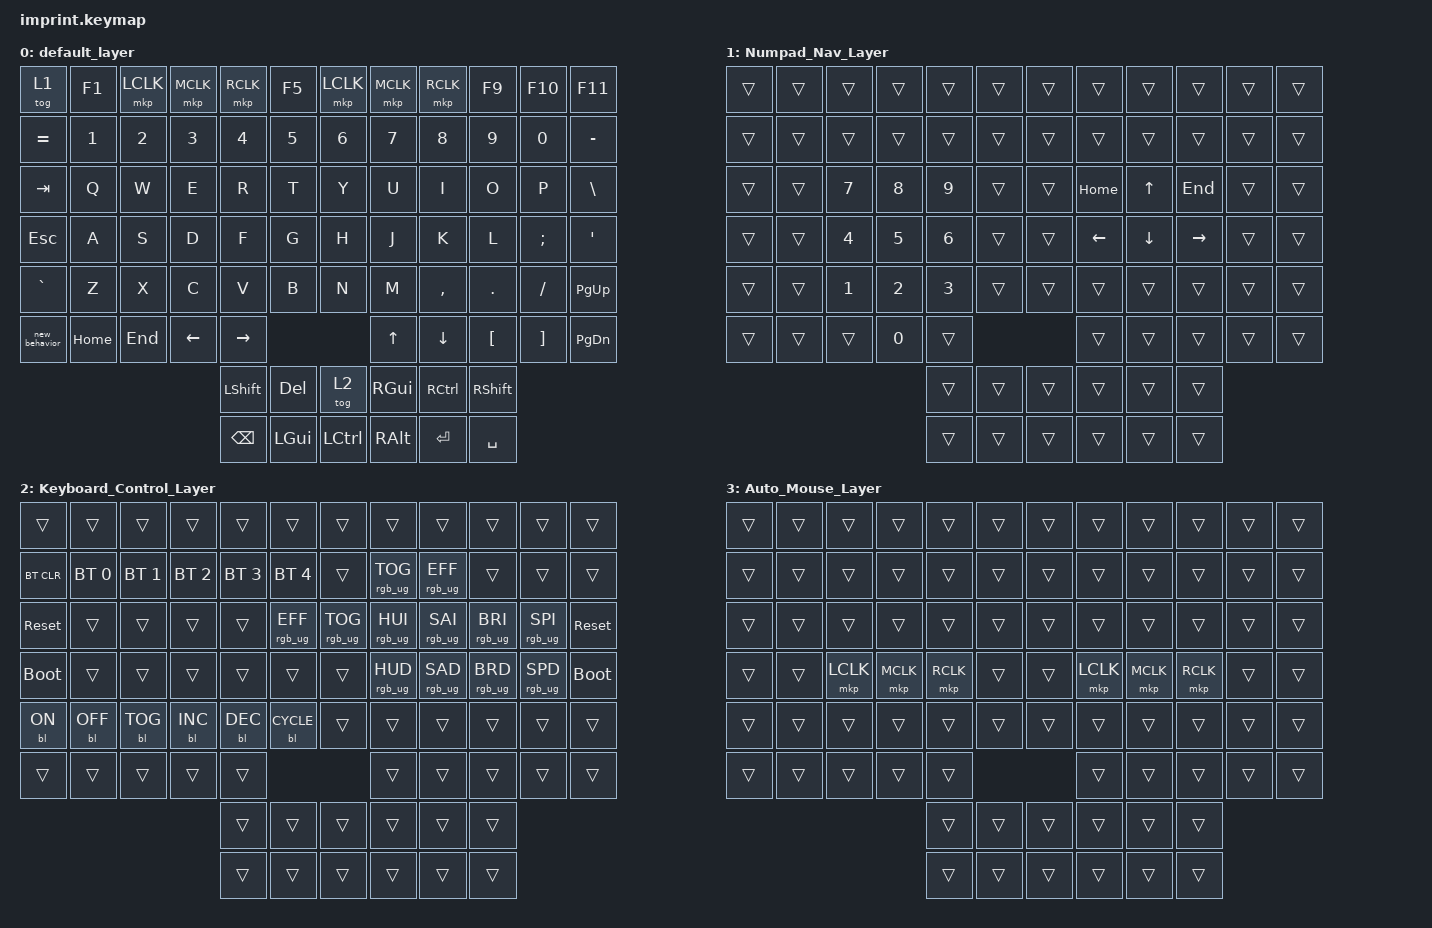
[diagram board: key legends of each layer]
#include <input/processors.dtsi>
#include <dt-bindings/zmk/input_transform.h>
#include <behaviors.dtsi>
#include <dt-bindings/zmk/backlight.h>
#include <dt-bindings/zmk/bt.h>
#include <dt-bindings/zmk/keys.h>
#include <dt-bindings/zmk/pointing.h>
#include <dt-bindings/zmk/rgb.h>

/ {
    chosen { zmk,matrix-transform = &imprint_function_row_full_bottom_row; };

    macros {
        new_macro: new_macro {
            compatible = "zmk,behavior-macro";
            #binding-cells = <0>;
            bindings = <&none>;
            label = "NEW_MACRO";
        };
    };

    behaviors {
        new_behavior: new_behavior {
            compatible = "zmk,behavior-tap-dance";
            label = "NEW_BEHAVIOR";
            #binding-cells = <0>;
            bindings = <&mkp LCLK>;
        };
    };

    keymap {
        compatible = "zmk,keymap";

        default_layer {
            bindings = <
&tog 1         &kp F1    &mkp LCLK  &mkp MCLK  &mkp RCLK       &kp F5                        &mkp LCLK  &mkp MCLK          &mkp RCLK        &kp F9            &kp F10            &kp F11
&kp EQUAL      &kp N1    &kp N2     &kp N3     &kp N4          &kp N5                        &kp N6     &kp N7             &kp N8           &kp N9            &kp N0             &kp MINUS
&kp TAB        &kp Q     &kp W      &kp E      &kp R           &kp T                         &kp Y      &kp U              &kp I            &kp O             &kp P              &kp BSLH
&kp ESC        &kp A     &kp S      &kp D      &kp F           &kp G                         &kp H      &kp J              &kp K            &kp L             &kp SEMI           &kp SQT
&kp GRAVE      &kp Z     &kp X      &kp C      &kp V           &kp B                         &kp N      &kp M              &kp COMMA        &kp DOT           &kp FSLH           &kp PAGE_UP
&new_behavior  &kp HOME  &kp END    &kp LEFT   &kp RIGHT                                                &kp UP_ARROW       &kp DOWN         &kp LEFT_BRACKET  &kp RIGHT_BRACKET  &kp PAGE_DOWN
                                               &kp LEFT_SHIFT  &kp DEL   &tog 2              &kp RGUI   &kp RIGHT_CONTROL  &kp RIGHT_SHIFT
                                               &kp BACKSPACE   &kp LGUI  &kp LEFT_CONTROL    &kp RALT   &kp ENTER          &kp SPACE
            >;
        };

        Numpad_Nav_Layer {
            bindings = <
&trans  &trans  &trans  &trans  &trans  &trans            &trans  &trans    &trans    &trans     &trans  &trans
&trans  &trans  &trans  &trans  &trans  &trans            &trans  &trans    &trans    &trans     &trans  &trans
&trans  &trans  &kp N7  &kp N8  &kp N9  &trans            &trans  &kp HOME  &kp UP    &kp END    &trans  &trans
&trans  &trans  &kp N4  &kp N5  &kp N6  &trans            &trans  &kp LEFT  &kp DOWN  &kp RIGHT  &trans  &trans
&trans  &trans  &kp N1  &kp N2  &kp N3  &trans            &trans  &trans    &trans    &trans     &trans  &trans
&trans  &trans  &trans  &kp N0  &trans                            &trans    &trans    &trans     &trans  &trans
                                &trans  &trans  &trans    &trans  &trans    &trans
                                &trans  &trans  &trans    &trans  &trans    &trans
            >;
        };

        Keyboard_Control_Layer {
            bindings = <
&trans       &trans        &trans        &trans        &trans        &trans                     &trans           &trans           &trans           &trans           &trans           &trans
&bt BT_CLR   &bt BT_SEL 0  &bt BT_SEL 1  &bt BT_SEL 2  &bt BT_SEL 3  &bt BT_SEL 4               &trans           &rgb_ug RGB_TOG  &rgb_ug RGB_EFF  &trans           &trans           &trans
&sys_reset   &trans        &trans        &trans        &trans        &rgb_ug RGB_EFF            &rgb_ug RGB_TOG  &rgb_ug RGB_HUI  &rgb_ug RGB_SAI  &rgb_ug RGB_BRI  &rgb_ug RGB_SPI  &sys_reset
&bootloader  &trans        &trans        &trans        &trans        &trans                     &trans           &rgb_ug RGB_HUD  &rgb_ug RGB_SAD  &rgb_ug RGB_BRD  &rgb_ug RGB_SPD  &bootloader
&bl BL_ON    &bl BL_OFF    &bl BL_TOG    &bl BL_INC    &bl BL_DEC    &bl BL_CYCLE               &trans           &trans           &trans           &trans           &trans           &trans
&trans       &trans        &trans        &trans        &trans                                                    &trans           &trans           &trans           &trans           &trans
                                                       &trans        &trans           &trans    &trans           &trans           &trans
                                                       &trans        &trans           &trans    &trans           &trans           &trans
            >;
        };

        Auto_Mouse_Layer {
            bindings = <
&trans  &trans  &trans     &trans     &trans     &trans            &trans  &trans     &trans     &trans     &trans  &trans
&trans  &trans  &trans     &trans     &trans     &trans            &trans  &trans     &trans     &trans     &trans  &trans
&trans  &trans  &trans     &trans     &trans     &trans            &trans  &trans     &trans     &trans     &trans  &trans
&trans  &trans  &mkp LCLK  &mkp MCLK  &mkp RCLK  &trans            &trans  &mkp LCLK  &mkp MCLK  &mkp RCLK  &trans  &trans
&trans  &trans  &trans     &trans     &trans     &trans            &trans  &trans     &trans     &trans     &trans  &trans
&trans  &trans  &trans     &trans     &trans                               &trans     &trans     &trans     &trans  &trans
                                      &trans     &trans  &trans    &trans  &trans     &trans
                                      &trans     &trans  &trans    &trans  &trans     &trans
            >;
        };
    };
};

// right hand trackball configuration
// &trackball_peripheral_listener {
//    input-processors =
//     activate layer 3 within 500ms of the trackball moving
//     <&zip_temp_layer 3 500>;
// };
//left hand trackball configuration

&trackball_central_listener {
    input-processors =
        // this gets it to the default installation orientation,,,,,,,,,,,,,,,,,,,,,,,,,,,,,,,
        // <&zip_xy_transform INPUT_TRANSFORM_XY_SWAP>,,,,,,,,,,,,,,
        // multiply sensitivity by 1, divide by 25 (make it slower for scrolling),,,,,,,,,,,,,,,,,,,,,,,,,,,,,,,
        <&zip_xy_scaler 1 60>,
        // make this trackball output scrolling events by default instead of cursor movement,,,,,,,,,,,,,,,,,,,,,,,,,,,,,,,
        <&zip_xy_to_scroll_mapper>,
        // invert vertical scrolling so that the view moves in the same direction as the top of the trackball.,,,,,,,,,,,,,,,,,,,,,,,,,,,,,,,
        <&zip_scroll_transform INPUT_TRANSFORM_Y_INVERT>,
        <&zip_scroll_transform INPUT_TRANSFORM_X_INVERT>;
};
